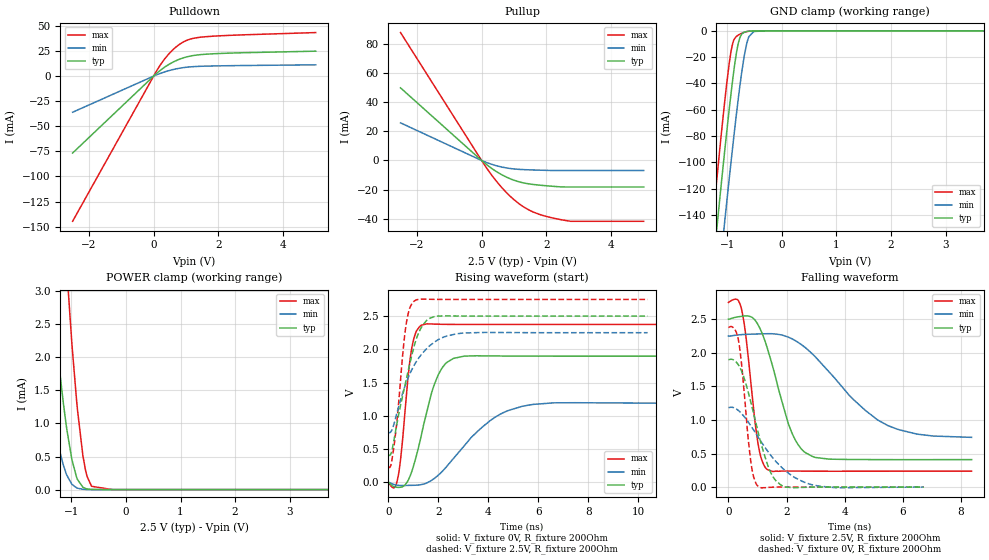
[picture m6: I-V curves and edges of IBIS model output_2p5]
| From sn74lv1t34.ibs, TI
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|   output_2p5 Model
[Model]   output_2p5
Model_type   3-state
Polarity   Non-Inverting
Vmeas = 1.25
Vref = 0
Cref = 50pF
Rref = 250
|   typ   min   max
|   (nom PVT)   (fast PVT)   (slow PVT)
C_comp   3.305e-12   3.211e-12   3.402e-12
| Where nom  PVT is Nominal Process, 2.5V, 40C
|   Fast PVT is Strong Process,  2.75V, -40C
|   Slow PVT is Weak Process,   2.25V, 140C
[Voltage Range]   2.5   2.25   2.75
|Junction Temperature
[Temperature Range]   40   140   -40
[Pullup Reference]   2.5   2.25   2.75
[Pulldown Reference]   0   0   0
[Power Clamp Reference]   2.5   2.25   2.75
[GND Clamp Reference]   0   0   0
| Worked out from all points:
|   slope of the pulldown table from 0 to 0.375 V, typ, clamps not added: 38.7 ohm
|   slope of the pullup table from 0 to 0.375 V, typ, clamps not added: 58.2 ohm
|   GND clamp passes 1 mA (typ) near -0.68 V on its own axis
|   POWER clamp passes 1 mA (typ) near -1.10 V on its own axis
|   falling waveform, V_fixture 2.5V, R_fixture 200Ohm: 20-80 % time 838ps typ, 2.04ns min, 387ps max; typ from 2.5 V to 0.41 V
|   rising waveform, V_fixture 0V, R_fixture 200Ohm: 20-80 % time 783ps typ, 1.82ns min, 363ps max; typ from 0 V to 1.9 V
|   rising waveform, V_fixture 2.5V, R_fixture 200Ohm: 20-80 % time 741ps typ, 1.04ns min, 374ps max; typ from 0.41 V to 2.5 V
|   falling waveform, V_fixture 0V, R_fixture 200Ohm: 20-80 % time 697ps typ, 1.26ns min, 309ps max; typ from 1.9 V to 0 V
[Pulldown]
|   Voltage   I(typ)   I(min)   I(max)
-2.5V     -76.69mA   -36.03mA   -144.7mA
87.5mV    2.582mA    1.203mA    5.003mA
351.8mV   9.211mA    4.304mA    17.62mA
500mV     12.21mA    5.707mA    23.21mA
756mV     16.27mA    7.587mA    30.67mA
951.3mV   18.5mA     8.584mA    34.6mA
1.125V    19.9mA     9.179mA    36.81mA
1.548V    21.66mA    9.862mA    39.08mA
5V        24.83mA    11.22mA    43.36mA
[GND Clamp]
|   Voltage   I(typ)   I(min)   I(max)
-2.5V     -719.7mA   -763.9mA   -692.1mA
-1.35V    -216.9mA   -270mA     -180.4mA
-1.114V   -118.7mA   -172.6mA   -80.84mA
-1.065V   -98.78mA   -152.6mA   -61.13mA
-1.026V   -83.62mA   -137.3mA   -46.46mA
-962.7mV  -59.56mA   -112.5mA   -24.67mA
-899.5mV  -37.2mA    -88.35mA   -9.599mA
-802.5mV  -10.48mA   -53.46mA   -3.396mA
-740.5mV  -2.875mA   -33.5mA    -1.977mA
-624.5mV  -398.4uA   -7.069mA   -460uA
-511mV    -63.18uA   -492.1uA   -56.18uA
5V        0A         0A         0A
[Pullup]
|   Voltage   I(typ)   I(min)   I(max)
-2.5V     49.98mA    25.88mA    88.05mA
141.5mV   -2.625mA   -1.3mA     -4.754mA
351.8mV   -6.101mA   -2.934mA   -11.26mA
635mV     -9.98mA    -4.59mA    -18.96mA
890.8mV   -12.69mA   -5.569mA   -24.82mA
1.135V    -14.58mA   -6.098mA   -29.45mA
1.438V    -16.05mA   -6.427mA   -33.82mA
1.758V    -16.93mA   -6.661mA   -36.92mA
2.192V    -17.78mA   -6.908mA   -39.58mA
2.747V    -18.27mA   -6.915mA   -41.87mA
5V        -18.27mA   -6.915mA   -41.88mA
[POWER Clamp]
|   Voltage   I(typ)   I(min)   I(max)
-2.5V     19.18mA    10.25mA    35.65mA
-1.65V    6.189mA    2.895mA    13.59mA
-1.496V   4.419mA    1.933mA    10.34mA
-1.351V   2.953mA    1.158mA    7.55mA
-1.21V    1.764mA    570.2uA    5.168mA
-1.083V   906.5uA    216.2uA    3.319mA
-993mV    466.5uA    84.08uA    2.236mA
-905mV    188.9uA    26.85uA    1.353mA
-787.5mV  35.64uA    4.874uA    507.4uA
-712.5mV  10.21uA    1.583uA    199.6uA
-630mV    2.454uA    455.5nA    49.99uA
5V        0A         0A         0A
[Ramp]
R_load = 200
|   typ   min   max
dV/dt_r   1.13845/7.79891e-10   0.711374/1.81658e-09   1.42459/3.62901e-10
dV/dt_f   1.25396/8.37107e-10   0.902739/2.02212e-09   1.50796/3.87053e-10
[Falling Waveform]
V_fixture = 2.5V
V_fixture_min = 2.25V
V_fixture_max = 2.75V
R_fixture = 200Ohm
|   Time   V(typ)   V(min)   V(max)
0s        2.5V       2.25V      2.75V
300ps     2.533V     2.264V     2.793V
450ps     2.543V     2.27V      2.651V
600ps     2.549V     2.274V     2.248V
1.025ns   2.413V     2.28V      633.7mV
1.325ns   2.088V     2.284V     265.5mV
2.075ns   930.3mV    2.23V      239.1mV
2.675ns   506.7mV    2.067V     237.2mV
5.5ns     408.9mV    914.6mV    236.6mV
8.375ns   409.5mV    740.6mV    236.7mV
[Rising Waveform]
V_fixture = 0V
V_fixture_min = 0V
V_fixture_max = 0V
R_fixture = 200Ohm
|   Time   V(typ)   V(min)   V(max)
0s        542.1pV    8.118nV    750.4pV
350ps     -73.34mV   -41.07mV   17.5mV
500ps     -71.38mV   -45.51mV   386.2mV
900ps     125.3mV    -43.76mV   1.932V
1.325ns   719.3mV    -31.83mV   2.363V
1.975ns   1.599V     102mV      2.378V
2.6ns     1.863V     358.6mV    2.375V
4.075ns   1.902V     929.1mV    2.374V
5.375ns   1.898V     1.146V     2.374V
13.68ns   1.897V     1.186V     2.374V
[Rising Waveform]
V_fixture = 2.5V
V_fixture_min = 2.25V
V_fixture_max = 2.75V
R_fixture = 200Ohm
|   Time   V(typ)   V(min)   V(max)
0s        410.1mV    745.4mV    236.7mV
100ps     429mV      760.9mV    257.7mV
250ps     690.9mV    911.5mV    616.2mV
600ps     1.353V     1.374V     2.023V
725ps     1.563V     1.509V     2.407V
875ps     1.812V     1.645V     2.639V
1.1ns     2.136V     1.804V     2.74V
1.65ns    2.466V     2.052V     2.752V
2.725ns   2.501V     2.233V     2.75V
10.38ns   2.5V       2.25V      2.75V
[Falling Waveform]
V_fixture = 0V
V_fixture_min = 0V
V_fixture_max = 0V
R_fixture = 200Ohm
|   Time   V(typ)   V(min)   V(max)
0s        1.897V     1.186V     2.374V
225ps     1.879V     1.175V     2.347V
350ps     1.814V     1.138V     2.176V
450ps     1.729V     1.096V     1.84V
775ps     1.258V     910.3mV    366.3mV
1ns       858.8mV    760.9mV    21.12mV
1.45ns    222mV      476.5mV    -2.806mV
1.95ns    2.77mV     247.7mV    1.167mV
3.075ns   1.002mV    18.27mV    -87.82uV
6.725ns   -82.85uV   924uV      -1.378uV
